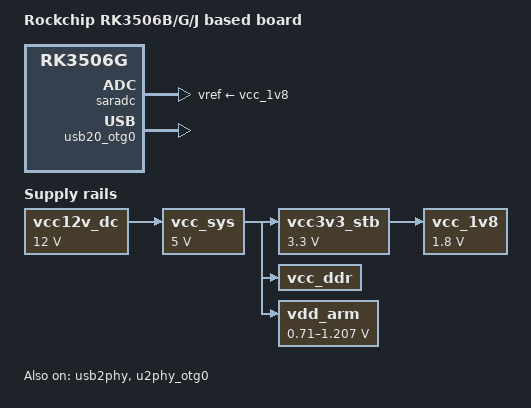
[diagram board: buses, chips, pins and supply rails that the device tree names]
#include <dt-bindings/input/rk-input.h>
#include "rk3506.dtsi"

/ {
	model = "Rockchip RK3506B/G/J based board";
	compatible = "rockchip,rk3506b-g-j", "rockchip,rk3506g";

	fiq_debugger: fiq-debugger {
		compatible = "rockchip,fiq-debugger";
		rockchip,serial-id = <0>;
		rockchip,wake-irq = <0>;
		rockchip,irq-mode-enable = <1>;
		rockchip,baudrate = <115200>;    /* Only 115200 and 1500000 */
		interrupts = <GIC_SPI 115 IRQ_TYPE_LEVEL_HIGH>;
	};

	vcc12v_dc: vcc12v-dc {
		compatible = "regulator-fixed";
		regulator-name = "vcc12v_dc";
		regulator-always-on;
		regulator-boot-on;
		regulator-min-microvolt = <12000000>;
		regulator-max-microvolt = <12000000>;
	};

	vcc_sys: vcc-sys {
		compatible = "regulator-fixed";
		regulator-name = "vcc_sys";
		regulator-always-on;
		regulator-boot-on;
		regulator-min-microvolt = <5000000>;
		regulator-max-microvolt = <5000000>;
		vin-supply = <&vcc12v_dc>;
	};

	vcc3v3_stb: vcc3v3-stb {
		compatible = "regulator-fixed";
		regulator-name = "vcc3v3_stb";
		regulator-always-on;
		regulator-boot-on;
		regulator-min-microvolt = <3300000>;
		regulator-max-microvolt = <3300000>;
		vin-supply = <&vcc_sys>;
	};

	vcc_1v8: vcc-1v8 {
		compatible = "regulator-fixed";
		regulator-name = "vcc_1v8";
		regulator-always-on;
		regulator-boot-on;
		regulator-min-microvolt = <1800000>;
		regulator-max-microvolt = <1800000>;
		vin-supply = <&vcc3v3_stb>;
	};

	vcc_ddr: vcc-ddr {
		compatible = "regulator-fixed";
		regulator-name = "vcc_ddr";
		regulator-always-on;
		regulator-boot-on;
		vin-supply = <&vcc_sys>;
	};

	vdd_arm: vdd-arm {
		compatible = "pwm-regulator";
		pwms = <&pwm0_4ch_0 0 5000 1>;
		regulator-name = "vdd_arm";
		regulator-min-microvolt = <710000>;
		regulator-max-microvolt = <1207000>;
		regulator-init-microvolt = <1011000>;
		regulator-always-on;
		regulator-boot-on;
		regulator-settling-time-up-us = <250>;
		pwm-supply = <&vcc_sys>;
	};
};

&cma {
	size = <0x1600000>;
};

&cpu0 {
	cpu-supply = <&vdd_arm>;
};

&fspi {
	status = "disabled";

	flash@0 {
		compatible = "spi-nand";
		reg = <0>;
		spi-max-frequency = <80000000>;
		spi-rx-bus-width = <4>;
		spi-tx-bus-width = <1>;
	};
};

&mmc {
	pinctrl-names = "default";
	pinctrl-0 = <&sdmmc_clk_pins &sdmmc_cmd_pins &sdmmc_bus4_pins>;
	cap-sd-highspeed;
	cap-mmc-highspeed;
	mmc-hs200-1_8v;
	no-sd;
	no-sdio;
	non-removable;
	status = "disabled";
};

&pwm0_4ch_0 {
	pinctrl-names = "active";
	pinctrl-0 = <&rm_io21_pwm0_ch0>;
	status = "disabled";
};

&rockchip_suspend {
	status = "disabled";
};

&saradc {
	vref-supply = <&vcc_1v8>;
	status = "okay";
};

&usb2phy {
	status = "okay";
};

&u2phy_otg0 {
	status = "okay";
};

&usb20_otg0 {
	status = "okay";
};
